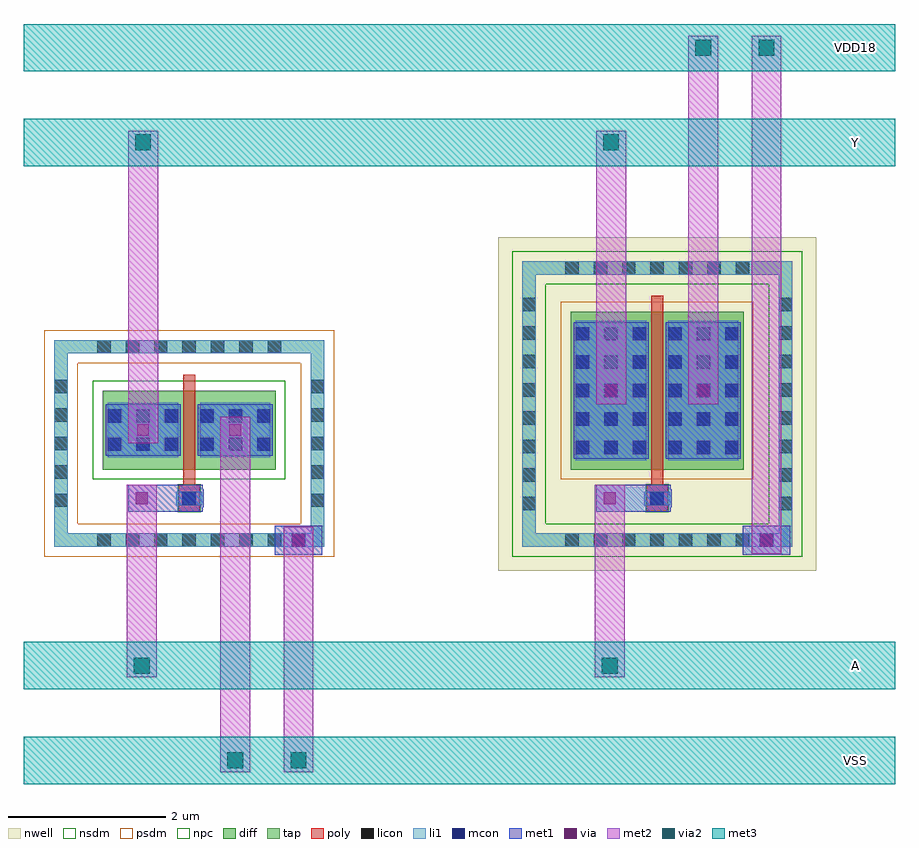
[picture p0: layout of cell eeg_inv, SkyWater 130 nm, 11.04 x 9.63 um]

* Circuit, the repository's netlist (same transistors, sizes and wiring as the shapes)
* Extracted by KLayout with SKY130 LVS runset on : 05/09/2026 11:02

.SUBCKT eeg_inv A VDD18 VSS Y
M$1 Y A VDD18 VDD18 sky130_fd_pr__pfet_01v8 L=0.15 W=2 AS=2.04 AD=2.04 PS=6.04
+ PD=6.04
M$2 Y A VSS VSS sky130_fd_pr__nfet_01v8 L=0.15 W=1 AS=1.02 AD=1.02 PS=4.04
+ PD=4.04
.ENDS eeg_inv

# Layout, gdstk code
import gdstk
lib = gdstk.Library(unit=1e-6, precision=1e-09)
def R(c, l, rs):  # rectangles x0, y0, x1, y1
    for r in rs: c.add(gdstk.rectangle(r[:2], r[2:], *l))
def A(c, l, x, y, w, h, nx, ny, dx, dy):  # array of equal rectangles
    R(c, l, [(x+i*dx, y+j*dy, x+i*dx+w, y+j*dy+h) for i in range(nx) for j in range(ny)])
def P(c, l, *ps):  # polygons
    for p in ps: c.add(gdstk.Polygon(p, *l))
nwell = (64, 20)
diff = (65, 20)
tap = (65, 44)
poly = (66, 20)
licon = (66, 44)
li1 = (67, 20)
mcon = (67, 44)
met1 = (68, 20)
via = (68, 44)
met2 = (69, 20)
via2 = (69, 44)
met3 = (70, 20)
nsdm = (93, 44)
psdm = (94, 20)
npc = (95, 20)

inv_n = lib.new_cell('inv_n')
R(inv_n, diff, [(0,0,2.19,1)])
P(inv_n, tap, [(-0.615,-0.98),(-0.615,1.47),(-0.445,1.47),(-0.445,-0.81),(2.635,-0.81),(2.635,1.47),(-0.615,1.47),(-0.615,1.64),(2.805,1.64),(2.805,-0.98)])
R(inv_n, poly, [(0.96,-0.53,1.23,-0.2), (1.02,-0.2,1.17,1.2)])
A(inv_n, licon, -0.07, -0.98, 0.17, 0.17, 7, 2, 0.36, 2.45)
A(inv_n, licon, -0.615, -0.475, 0.17, 0.17, 1, 5, 0, 0.36)
A(inv_n, licon, 2.635, -0.475, 0.17, 0.17, 1, 5, 0, 0.36)
A(inv_n, licon, 0.065, 0.235, 0.17, 0.17, 3, 2, 0.36, 0.36)
A(inv_n, licon, 1.235, 0.235, 0.17, 0.17, 3, 2, 0.36, 0.36)
R(inv_n, licon, [(1.01,-0.45,1.18,-0.28)])
R(inv_n, li1, [(0.93,-0.45,1.26,-0.28), (0.065,0.155,0.955,0.845), (1.235,0.155,2.125,0.845)])
P(inv_n, li1, [(-0.615,-0.98),(-0.615,1.47),(-0.445,1.47),(-0.445,-0.81),(2.635,-0.81),(2.635,1.47),(-0.615,1.47),(-0.615,1.64),(2.805,1.64),(2.805,-0.98)])
A(inv_n, mcon, 0.065, 0.235, 0.17, 0.17, 3, 2, 0.36, 0.36)
A(inv_n, mcon, 1.235, 0.235, 0.17, 0.17, 3, 2, 0.36, 0.36)
R(inv_n, mcon, [(1.01,-0.45,1.18,-0.28)])
R(inv_n, met1, [(0.91,-0.48,1.28,-0.25), (0.035,0.175,0.985,0.825), (1.205,0.175,2.155,0.825)])
R(inv_n, nsdm, [(-0.125,-0.125,2.315,1.125)])
P(inv_n, psdm, [(-0.74,-1.105),(-0.74,1.345),(-0.32,1.345),(-0.32,-0.685),(2.51,-0.685),(2.51,1.345),(-0.74,1.345),(-0.74,1.765),(2.93,1.765),(2.93,-1.105)])
R(inv_n, npc, [(0.95,-0.54,1.24,-0.19)])

inv_p = lib.new_cell('inv_p')
R(inv_p, nwell, [(-0.92,-1.285,3.11,2.945)])
R(inv_p, diff, [(0,0,2.19,2)])
P(inv_p, tap, [(-0.615,-0.98),(-0.615,2.47),(-0.445,2.47),(-0.445,-0.81),(2.635,-0.81),(2.635,2.47),(-0.615,2.47),(-0.615,2.64),(2.805,2.64),(2.805,-0.98)])
R(inv_p, poly, [(0.96,-0.53,1.23,-0.2), (1.02,-0.2,1.17,2.2)])
A(inv_p, licon, -0.07, -0.98, 0.17, 0.17, 7, 2, 0.36, 3.45)
A(inv_p, licon, -0.615, -0.515, 0.17, 0.17, 1, 8, 0, 0.36)
A(inv_p, licon, 2.635, -0.515, 0.17, 0.17, 1, 8, 0, 0.36)
A(inv_p, licon, 0.065, 0.195, 0.17, 0.17, 3, 5, 0.36, 0.36)
A(inv_p, licon, 1.235, 0.195, 0.17, 0.17, 3, 5, 0.36, 0.36)
R(inv_p, licon, [(1.01,-0.45,1.18,-0.28)])
R(inv_p, li1, [(0.93,-0.45,1.26,-0.28), (0.065,0.115,0.955,1.885), (1.235,0.115,2.125,1.885)])
P(inv_p, li1, [(-0.615,-0.98),(-0.615,2.47),(-0.445,2.47),(-0.445,-0.81),(2.635,-0.81),(2.635,2.47),(-0.615,2.47),(-0.615,2.64),(2.805,2.64),(2.805,-0.98)])
A(inv_p, mcon, 0.065, 0.195, 0.17, 0.17, 3, 5, 0.36, 0.36)
A(inv_p, mcon, 1.235, 0.195, 0.17, 0.17, 3, 5, 0.36, 0.36)
R(inv_p, mcon, [(1.01,-0.45,1.18,-0.28)])
R(inv_p, met1, [(0.91,-0.48,1.28,-0.25), (0.035,0.135,0.985,1.865), (1.205,0.135,2.155,1.865)])
P(inv_p, nsdm, [(-0.74,-1.105),(-0.74,2.345),(-0.32,2.345),(-0.32,-0.685),(2.51,-0.685),(2.51,2.345),(-0.74,2.345),(-0.74,2.765),(2.93,2.765),(2.93,-1.105)])
R(inv_p, psdm, [(-0.125,-0.125,2.315,2.125)])
R(inv_p, npc, [(0.95,-0.54,1.24,-0.19)])

eeg_inv = lib.new_cell('eeg_inv')
R(eeg_inv, mcon, [(2.395,-0.98,2.565,-0.81), (8.325,-0.98,8.495,-0.81)])
R(eeg_inv, met1, [(2.18,-1.08,2.78,-0.71), (8.11,-1.08,8.71,-0.71), (2.31,-1.065,2.65,-0.725), (8.24,-1.065,8.58,-0.725), (0.325,-0.535,1.265,-0.195), (6.255,-0.535,7.195,-0.195), (0.34,0.33,0.68,0.67), (1.51,0.33,1.85,0.67), (6.27,0.83,6.61,1.17), (7.44,0.83,7.78,1.17)])
R(eeg_inv, via, [(2.405,-0.97,2.555,-0.82), (8.335,-0.97,8.485,-0.82), (0.42,-0.44,0.57,-0.29), (6.35,-0.44,6.5,-0.29), (0.435,0.425,0.585,0.575), (1.605,0.425,1.755,0.575), (6.365,0.925,6.515,1.075), (7.535,0.925,7.685,1.075)])
R(eeg_inv, met2, [(1.49,-3.835,1.87,0.67), (2.29,-3.835,2.67,-0.725), (0.305,-2.635,0.685,-0.195), (6.235,-2.635,6.615,-0.195), (8.22,-1.065,8.6,5.495), (0.32,0.33,0.7,4.295), (6.25,0.83,6.63,4.295), (7.42,0.83,7.8,5.495)])
R(eeg_inv, via2, [(1.58,-3.785,1.78,-3.585), (2.38,-3.785,2.58,-3.585), (0.395,-2.585,0.595,-2.385), (6.325,-2.585,6.525,-2.385), (0.41,4.045,0.61,4.245), (6.34,4.045,6.54,4.245), (7.51,5.245,7.71,5.445), (8.31,5.245,8.51,5.445)])
R(eeg_inv, met3, [(-1,-3.985,10.04,-3.385), (-1,-2.785,10.04,-2.185), (-1,3.845,10.04,4.445), (-1,5.045,10.04,5.645)])
eeg_inv.add(gdstk.Reference(inv_n, (0,0)))
eeg_inv.add(gdstk.Reference(inv_p, (5.93,0)))
eeg_inv.add(gdstk.Label('A', (9.54,-2.485), layer=70, texttype=5))
eeg_inv.add(gdstk.Label('Y', (9.54,4.145), layer=70, texttype=5))
eeg_inv.add(gdstk.Label('VDD18', (9.54,5.345), layer=70, texttype=5))
eeg_inv.add(gdstk.Label('VSS', (9.54,-3.685), layer=70, texttype=5))

lib.write_gds('eeg_inv.gds')
